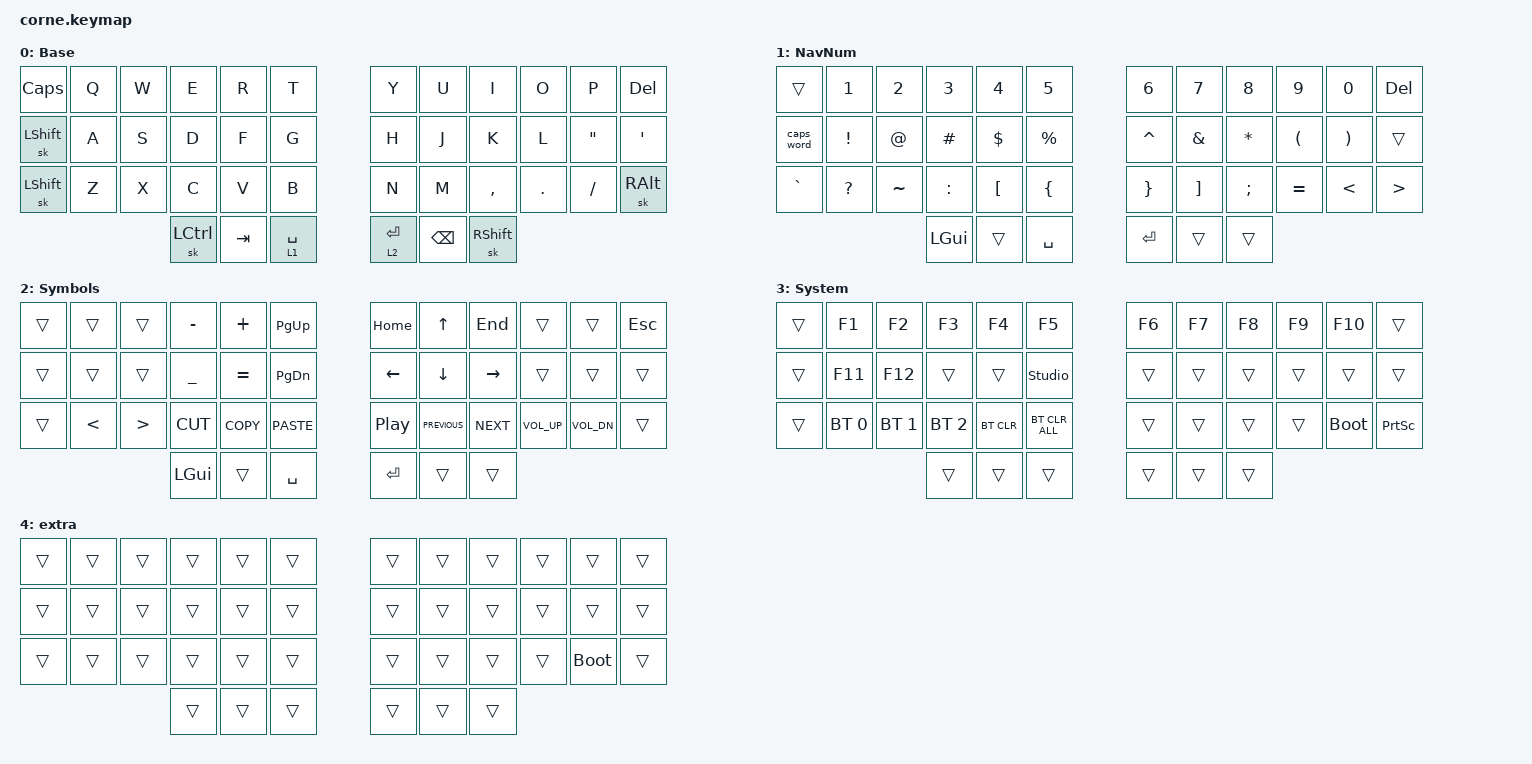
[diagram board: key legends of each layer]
#include <behaviors.dtsi>
#include <dt-bindings/zmk/bt.h>
#include <dt-bindings/zmk/keys.h>

#define DEF 0
#define NAV 1
#define SYM 2
#define ADJ 3
#define EXTRA 4

/ {
    behaviors {
        hm: homerow_mods {
            compatible = "zmk,behavior-hold-tap";
            label = "HOMEROW_MODS";
            #binding-cells = <2>;
            tapping-term-ms = <200>;
            quick_tap_ms = <0>;
            flavor = "tap-preferred";
            bindings = <&kp>, <&kp>;

            quick-tap-ms = <180>;
            global-quick-tap;
        };

        para: para {
            compatible = "zmk,behavior-tap-dance";
            label = "PARA";
            #binding-cells = <0>;
            bindings = <&kp LEFT_PARENTHESIS>, <&kp RIGHT_PARENTHESIS>;
        };

        caps: caps {
            compatible = "zmk,behavior-caps-word";
            label = "CAPS";
            #binding-cells = <0>;
            continue-list = <MINUS BACKSPACE>;
        };

        paraless: paraless {
            compatible = "zmk,behavior-mod-morph";
            label = "PARALESS";
            bindings = <&kp LEFT_PARENTHESIS>, <&kp LESS_THAN>;

            #binding-cells = <0>;
            mods = <(MOD_LSFT)>;
        };

        paragreat: paragreat {
            compatible = "zmk,behavior-mod-morph";
            label = "PARAGREAT";
            bindings = <&kp RIGHT_PARENTHESIS>, <&kp GREATER_THAN>;

            #binding-cells = <0>;
            mods = <(MOD_LSFT)>;
        };
    };

    macros {
        browsertab: browsertab {
            compatible = "zmk,behavior-macro";
            #binding-cells = <0>;
            bindings =
                <&macro_press>,
                <&kp LCTRL>,
                <&macro_tap>,
                <&kp TAB>,
                <&macro_release>,
                <&kp LCTRL>;
        };
    };

    combos {
        compatible = "zmk,combos";

        escape {
            bindings = <&kp ESCAPE>;
            key-positions = <13 29>;
        };

        delete {
            bindings = <&kp DELETE>;
            key-positions = <15 21>;
        };

        perc {
            bindings = <&kp PERCENT>;
            key-positions = <5 17>;
        };

        equal {
            bindings = <&kp EQUAL>;
            key-positions = <28 16>;
        };

        dollar {
            bindings = <&kp DOLLAR>;
            key-positions = <4 16>;
        };

        pound {
            bindings = <&kp POUND>;
            key-positions = <3 15>;
        };

        at {
            bindings = <&kp AT>;
            key-positions = <2 14>;
        };

        backslash {
            bindings = <&kp BACKSLASH>;
            key-positions = <26 14>;
        };

        copy {
            bindings = <&kp K_COPY>;
            key-positions = <28 27>;
        };

        paste {
            bindings = <&kp K_PASTE>;
            key-positions = <26 27>;
        };

        star {
            bindings = <&kp STAR>;
            key-positions = <8 20>;
        };

        slash {
            bindings = <&kp SLASH>;
            key-positions = <32 20>;
        };

        plus {
            bindings = <&kp PLUS>;
            key-positions = <7 19>;
        };

        minus {
            bindings = <&kp KP_MINUS>;
            key-positions = <31 19>;
        };

        underscore {
            bindings = <&kp UNDER>;
            key-positions = <30 18>;
        };

        rightbrack {
            bindings = <&kp RIGHT_BRACKET>;
            key-positions = <31 32>;
        };

        para-less {
            bindings = <&paraless>;
            key-positions = <20 19>;
        };

        para-great {
            bindings = <&paragreat>;
            key-positions = <20 21>;
        };

        rt_brace {
            bindings = <&kp RIGHT_BRACE>;
            key-positions = <30 31>;
        };

        lt_brace {
            bindings = <&kp LEFT_BRACE>;
            key-positions = <29 28>;
        };

        leftbracket {
            bindings = <&kp LEFT_BRACKET>;
            key-positions = <28 27>;
        };

        speech {
            bindings = <&kp DOUBLE_QUOTES>;
            key-positions = <17 16>;
        };

        quote {
            bindings = <&kp SINGLE_QUOTE>;
            key-positions = <18 19>;
        };

        hash {
            bindings = <&kp NON_US_HASH>;
            key-positions = <6 7>;
        };

        greater {
            bindings = <&kp GREATER_THAN>;
            key-positions = <12 13>;
        };

        lesser {
            bindings = <&kp LESS_THAN>;
            key-positions = <0 1>;
        };
    };

    //

    keymap {
        compatible = "zmk,keymap";

        DEF {
            display-name = "Base";

            // -----------------------------------------------------------------------------------------
            // |  Q  |  W  |  E  |  R  |  T  |   |  Y  |  U   |  I  |  O  |  P  |
            // |  A  |  S  |  D  |  F  |  G  |   |  H  |  J   |  K  |  L  |  ;  |
            // |  Z  |  X  |  C  |  V  |  B  |   |  N  |  M   |  ,  |  .  |  /  |
            // | GUI | CTRL | SHFT | LWR | SPC |   | ENT | RSE  | BKSP | ALT | ESC |

            bindings = <
&kp CAPS        &kp Q  &kp W  &kp E      &kp R    &kp T          &kp Y        &kp U          &kp I            &kp O    &kp P              &kp DEL
&sk LSHFT       &kp A  &kp S  &kp D      &kp F    &kp G          &kp H        &kp J          &kp K            &kp L    &kp DOUBLE_QUOTES  &kp SQT
&sk LEFT_SHIFT  &kp Z  &kp X  &kp C      &kp V    &kp B          &kp N        &kp M          &kp COMMA        &kp DOT  &kp FSLH           &sk RIGHT_ALT
                              &sk LCTRL  &kp TAB  &lt 1 SPACE    &lt 2 ENTER  &kp BACKSPACE  &sk RIGHT_SHIFT
            >;
        };

        NAV {
            display-name = "NavNum";

            // -----------------------------------------------------------------------------------------
            // |  TAB |  1  |  2  |  3  |  4  |  5  |   |  6  |  7  |  8  |  9  |  0  | BKSP |
            // | BTCLR| BT1 | BT2 | BT3 | BT4 | BT5 |   | LFT | DWN |  UP | RGT |     |      |
            // | SHFT |     |     |     |     |     |   |     |     |     |     |     |      |
            // | GUI | CTRL | SHFT | LWR | SPC |   | ENT | RSE  | BKSP | ALT | ESC |

            bindings = <
&trans      &kp N1           &kp N2       &kp N3     &kp N4            &kp N5            &kp N6           &kp N7             &kp N8         &kp N9                &kp N0                 &kp DELETE
&caps_word  &kp EXCLAMATION  &kp AT_SIGN  &kp HASH   &kp DOLLAR        &kp PERCENT       &kp CARET        &kp AMPERSAND      &kp ASTERISK   &kp LEFT_PARENTHESIS  &kp RIGHT_PARENTHESIS  &trans
&kp GRAVE   &kp QUESTION     &kp TILDE    &kp COLON  &kp LEFT_BRACKET  &kp LEFT_BRACE    &kp RIGHT_BRACE  &kp RIGHT_BRACKET  &kp SEMICOLON  &kp EQUAL             &kp LESS_THAN          &kp GREATER_THAN
                                          &kp LGUI   &trans            &kp SPACE         &kp RET          &trans             &trans
            >;
        };

        SYM {
            display-name = "Symbols";

            // -----------------------------------------------------------------------------------------
            // |  TAB |  !  |  @  |  #  |  $  |  %  |   |  ^  |  &  |  *  |  (  |  )  | BKSP |
            // | CTRL |     |     |     |     |     |   |  -  |  =  |  [  |  ]  |  \  |  `   |
            // | SHFT |     |     |     |     |     |   |  _  |  +  |  {  |  }  | "|" |  ~   |
            //                    | GUI |     | SPC |   | ENT |     | ALT |

            bindings = <
&trans  &trans         &trans            &kp MINUS       &kp PLUS    &kp PAGE_UP      &kp HOME          &kp UP_ARROW    &kp END     &trans           &trans        &kp ESC
&trans  &trans         &trans            &kp UNDERSCORE  &kp EQUAL   &kp PAGE_DOWN    &kp LEFT          &kp DOWN        &kp RIGHT   &trans           &trans        &trans
&trans  &kp LESS_THAN  &kp GREATER_THAN  &kp K_CUT       &kp K_COPY  &kp K_PASTE      &kp C_PLAY_PAUSE  &kp C_PREVIOUS  &kp C_NEXT  &kp C_VOLUME_UP  &kp C_VOL_DN  &trans
                                         &kp LGUI        &trans      &kp SPACE        &kp RET           &trans          &trans
            >;
        };

        ADJ {
            display-name = "System";
            bindings = <
&trans  &kp F1        &kp F2        &kp F3        &kp F4      &kp F5            &kp F6  &kp F7  &kp F8  &kp F9  &kp F10      &trans
&trans  &kp F11       &kp F12       &trans        &trans      &studio_unlock    &trans  &trans  &trans  &trans  &trans       &trans
&trans  &bt BT_SEL 0  &bt BT_SEL 1  &bt BT_SEL 2  &bt BT_CLR  &bt BT_CLR_ALL    &trans  &trans  &trans  &trans  &bootloader  &kp PRINTSCREEN
                                    &trans        &trans      &trans            &trans  &trans  &trans
            >;
        };

        EXTRA {
            display-name = "extra";
            bindings = <
&trans  &trans  &trans  &trans  &trans  &trans    &trans  &trans  &trans  &trans  &trans       &trans
&trans  &trans  &trans  &trans  &trans  &trans    &trans  &trans  &trans  &trans  &trans       &trans
&trans  &trans  &trans  &trans  &trans  &trans    &trans  &trans  &trans  &trans  &bootloader  &trans
                        &trans  &trans  &trans    &trans  &trans  &trans
            >;
        };
    };

    conditional_layers {
        compatible = "zmk,conditional-layers";

        l3 {
            if-layers = <1 2>;
            then-layer = <3>;
        };
    };
};
